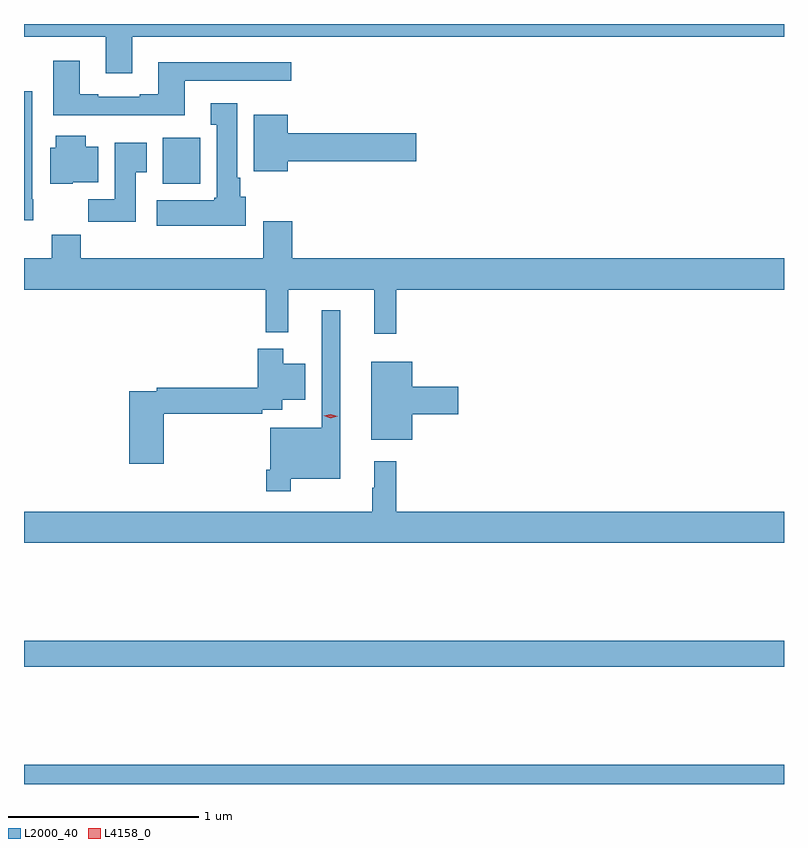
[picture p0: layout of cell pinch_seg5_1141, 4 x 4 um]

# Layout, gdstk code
import gdstk
lib = gdstk.Library(unit=1e-6, precision=1e-09)
def R(c, l, rs):  # rectangles x0, y0, x1, y1
    for r in rs: c.add(gdstk.rectangle(r[:2], r[2:], *l))
def P(c, l, *ps):  # polygons
    for p in ps: c.add(gdstk.Polygon(p, *l))
L2000_40 = (2000, 40)
L4158_0 = (4158, 0)

pinch_seg5_1141 = lib.new_cell('pinch_seg5_1141')
R(pinch_seg5_1141, L2000_40, [(837.217,851.494,841.217,851.596), (837.217,852.112,841.217,852.248), (837.947,854.654,838.144,854.896)])
P(pinch_seg5_1141, L2000_40, [(837.787,855.428),(841.217,855.428),(841.217,855.494),(837.217,855.494),(837.217,855.428),(837.647,855.428),(837.647,855.234),(837.787,855.234)],
  [(838.063,855.195),(838.624,855.195),(838.624,855.292),(837.923,855.292),(837.923,855.124),(837.827,855.124),(837.827,855.111),(837.607,855.111),(837.607,855.124),(837.511,855.124),(837.511,855.301),(837.371,855.301),(837.371,855.014),(838.063,855.014)],
  [(837.266,854.572),(837.261,854.572),(837.261,855.14),(837.217,855.14),(837.217,854.46),(837.266,854.46)],
  [(838.384,854.586),(838.354,854.586),(838.354,854.686),(838.339,854.686),(838.339,855.076),(838.199,855.076),(838.199,854.963),(838.232,854.963),(838.232,854.58),(838.219,854.58),(838.219,854.566),(837.915,854.566),(837.915,854.432),(838.384,854.432)],
  [(838.606,854.771),(839.281,854.771),(839.281,854.918),(838.606,854.918),(838.606,855.016),(838.427,855.016),(838.427,854.72),(838.606,854.72)],
  [(837.474,854.66),(837.607,854.66),(837.607,854.848),(837.541,854.848),(837.541,854.905),(837.383,854.905),(837.383,854.844),(837.356,854.844),(837.356,854.654),(837.474,854.654)],
  [(837.805,854.713),(837.862,854.713),(837.862,854.869),(837.695,854.869),(837.695,854.572),(837.556,854.572),(837.556,854.454),(837.805,854.454)],
  [(839.177,854.096),(841.217,854.096),(841.217,854.26),(838.628,854.26),(838.628,854.455),(838.475,854.455),(838.475,854.26),(837.515,854.26),(837.515,854.384),(837.364,854.384),(837.364,854.26),(837.217,854.26),(837.217,854.096),(838.489,854.096),(838.489,853.871),(838.607,853.871),(838.607,854.096),(839.06,854.096),(839.06,853.863),(839.177,853.863)],
  [(838.621,853.1),(838.882,853.1),(838.882,853.987),(838.785,853.987),(838.785,853.369),(838.512,853.369),(838.512,853.147),(838.492,853.147),(838.492,853.035),(838.621,853.035)],
  [(837.953,853.444),(838.472,853.444),(838.472,853.464),(838.576,853.464),(838.576,853.517),(838.696,853.517),(838.696,853.705),(838.582,853.705),(838.582,853.786),(838.448,853.786),(838.448,853.58),(837.916,853.58),(837.916,853.56),(837.77,853.56),(837.77,853.179),(837.953,853.179)],
  [(839.26,853.439),(839.503,853.439),(839.503,853.586),(839.26,853.586),(839.26,853.717),(839.045,853.717),(839.045,853.307),(839.26,853.307)],
  [(841.217,852.928),(839.177,852.928),(839.177,853.192),(839.06,853.192),(839.06,853.052),(839.049,853.052),(839.049,852.928),(837.217,852.928),(837.217,852.764),(841.217,852.764)])
P(pinch_seg5_1141, L4158_0, [(838.831,853.42),(838.795,853.432),(838.795,853.432),(838.795,853.432),(838.832,853.44),(838.867,853.429),(838.867,853.429),(838.867,853.429)])

lib.write_gds('pinch_seg5_1141.gds')
